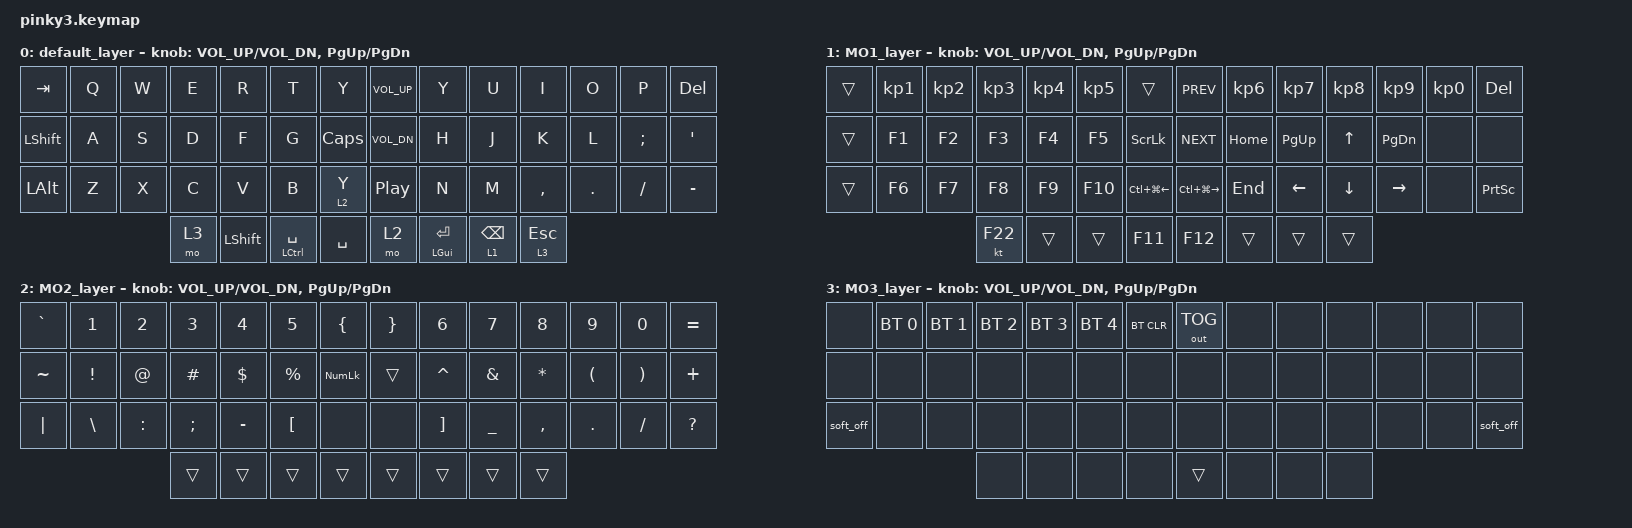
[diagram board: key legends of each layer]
#include <behaviors.dtsi>
#include <dt-bindings/zmk/bt.h>
#include <dt-bindings/zmk/keys.h>
#include <dt-bindings/zmk/keys.h>
#include <dt-bindings/zmk/outputs.h>

/ {
    behaviors {
        ltq: layer_tap_quick {
            compatible = "zmk,behavior-hold-tap";
            #binding-cells = <2>;
            flavor = "hold-preferred";
            tapping-term-ms = <175>;
            quick-tap-ms = <175>;
            bindings = <&mo>, <&kp>;
        };
    };

    combos {
        compatible = "zmk,combos";

        hr_shift {
            bindings = <&kp LEFT_SHIFT>;
            key-positions = <17 18>;
        };

        hr_ctrl {
            bindings = <&kp LCTRL>;
            key-positions = <16 17>;
        };
    };

    keymap {
        compatible = "zmk,keymap";

        default_layer {
            // --------------------------------------------------------------------------------------------------------------------------------------------------------------------
            // |   ESC   |    Q    |    W    |    E    |    R    |    T    |         |              |         |    Y    |    U    |    I    |    O    |    P    |    DEL  |
            // |  SHIFT  |    A    |    S    |    D    |    F    |    G    |CAPSLOCK |              |         |    H    |    J    |    K    |    L    |    ;    |    '    |
            // |   ALT   |    Z    |    X    |    C    |    V    |    B    | LT(2,Y) |              |         |    N    |    M    |    ,    |    .    |    /    |    -    |
            //                               |  LGUI   |  SHIFT  |MT(CTRL,SPC)|  SPACE  |           |  MO(3)  |  ENTER  |LT(1,BS) |   ESC   |

            bindings = <
&kp TAB    &kp Q  &kp W  &kp E  &kp R      &kp T            &kp Y      &kp C_VOL_UP  &kp Y         &kp U        &kp I         &kp O    &kp P     &kp DEL
&kp LSHFT  &kp A  &kp S  &kp D  &kp F      &kp G            &kp CAPS   &kp C_VOL_DN  &kp H         &kp J        &kp K         &kp L    &kp SEMI  &kp SQT
&kp LALT   &kp Z  &kp X  &kp C  &kp V      &kp B            &lt 2 Y    &kp C_PP      &kp N         &kp M        &kp COMMA     &kp DOT  &kp FSLH  &kp MINUS
                         &mo 3  &kp LSHFT  &mt LCTRL SPACE  &kp SPACE  &mo 2         &mt LGUI RET  &ltq 1 BSPC  &lt 3 ESCAPE
            >;

            sensor-bindings = <&inc_dec_kp C_VOL_UP C_VOL_DN &inc_dec_kp PG_UP PG_DN>;
        };

        MO1_layer {
            // --------------------------------------------------------------------------------------------------------------------------------------------------------------------
            // |   -_    |    1    |    2    |    3    |    4    |    5    |         |              |         |    6    |    7    |    8    |    9    |    0    |   +=    |
            // |   TAB   |         |         |         |         |         |         |              |         |         |    UP   |         |    PU   |         |         |
            // |   LS(   |         |         |         |         |         |  MO(2)  |              |         |  LEFT   |   DOWN  |  RIGHT  |    PD   |         |   RS)   |
            //                               | OPTION  |   CMD   | RETURN  |   CTL   |              |  MO(1)  |  SPACE  |   MO(3) |TD(RLAT,han)|

            bindings = <
&trans  &kp KP_N1  &kp KP_N2  &kp KP_N3  &kp KP_N4  &kp KP_N5  &trans            &kp C_PREV         &kp KP_N6  &kp KP_N7  &kp KP_N8  &kp KP_N9  &kp KP_N0  &kp DEL
&trans  &kp F1     &kp F2     &kp F3     &kp F4     &kp F5     &kp SLCK          &kp C_NEXT         &kp HOME   &kp PG_UP  &kp UP     &kp PG_DN  &none      &none
&trans  &kp F6     &kp F7     &kp F8     &kp F9     &kp F10    &kp LC(LG(LEFT))  &kp LC(LG(RIGHT))  &kp END    &kp LEFT   &kp DOWN   &kp RIGHT  &none      &kp PSCRN
                              &kt F22    &trans     &trans     &kp F11           &kp F12            &trans     &trans     &trans
            >;

            sensor-bindings = <&inc_dec_kp C_VOL_UP C_VOL_DN &inc_dec_kp PG_UP PG_DN>;
        };

        MO2_layer {
            // --------------------------------------------------------------------------------------------------------------------------------------------------------------------
            // |         |   F1    |    F2   |    F3   |   F4    |    F5   |         |          |         |   F6    |   F7    |   F8    |   F9    |   F10   |         |
            // |   TAB   |  MUTE   |  VOLD   |  VOLU   |   BT    |   USB   |         |          |         |         |         |         |         |         |         |
            // |   LS(   |   PP    |  PREV   |  NEXT   |         |         |  MO(2)  |          |         |         |         |         |         |         |   RS)   |
            //                               | OPTION  |   CMD   | RETURN  |   CTL   |          |  MO(1)  |  SPACE  |  MO(3)  |TD(RALT,han)|

            bindings = <
&kp GRAVE  &kp N1    &kp N2     &kp N3    &kp N4     &kp N5     &kp LBRC     &kp RBRC  &kp N6     &kp N7     &kp N8     &kp N9    &kp N0    &kp EQUAL
&kp TILDE  &kp EXCL  &kp AT     &kp HASH  &kp DLLR   &kp PRCNT  &kp KP_NLCK  &trans    &kp CARET  &kp AMPS   &kp STAR   &kp LPAR  &kp RPAR  &kp PLUS
&kp PIPE   &kp BSLH  &kp COLON  &kp SEMI  &kp MINUS  &kp LBKT   &none        &none     &kp RBKT   &kp UNDER  &kp COMMA  &kp DOT   &kp FSLH  &kp QMARK
                                &trans    &trans     &trans     &trans       &trans    &trans     &trans     &trans
            >;

            sensor-bindings = <&inc_dec_kp C_VOL_UP C_VOL_DN &inc_dec_kp PG_UP PG_DN>;
        };

        MO3_layer {
            // --------------------------------------------------------------------------------------------------------------------------------------------------------------------
            // |   `~    |  PROF1  |  PROF2  |  PROF3  |  PROF4  |  PROF5  | BT_CLR  |          |         |         |         |         |   [{    |   ]}    |   \|    |
            // |   TAB   |         |         |         |         |         |         |          |         |         |         |         |         |         |   DEL   |
            // |   LS(   |         |         |         |         |         |  MO(2)  |          |         |         |         |         |         |         |   RS)   |
            //                               | OPTION  |   CMD   | RETURN  |   CTL   |          |  MO(1)  |  SPACE  |  MO(3)  |TD(RALT,han)|

            bindings = <
&none      &bt BT_SEL 0  &bt BT_SEL 1  &bt BT_SEL 2  &bt BT_SEL 3  &bt BT_SEL 4  &bt BT_CLR  &out OUT_TOG  &none  &none  &none  &none  &none  &none
&none      &none         &none         &none         &none         &none         &none       &none         &none  &none  &none  &none  &none  &none
&soft_off  &none         &none         &none         &none         &none         &none       &none         &none  &none  &none  &none  &none  &soft_off
                                       &none         &none         &none         &none       &trans        &none  &none  &none
            >;

            sensor-bindings = <&inc_dec_kp C_VOL_UP C_VOL_DN &inc_dec_kp PG_UP PG_DN>;
        };
    };
};
